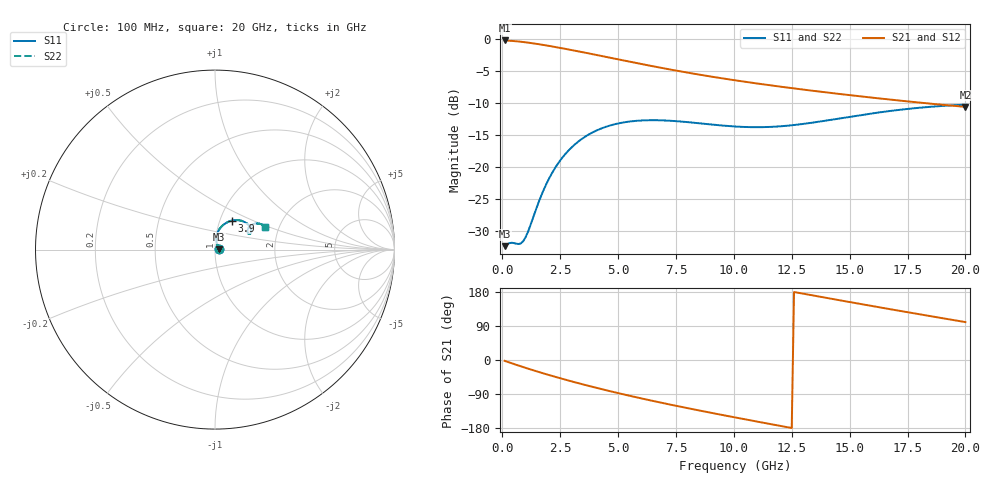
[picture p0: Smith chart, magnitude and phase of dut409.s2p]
! Touchstone file exported from HFSS 2024.1.0
!  File:  C:/UserFiles/LocalFiles/RDL_TSV_Batchsim/temp_RDL_TSV_409_1779713753.aedt
!  Generated:  09:18:17 PM May 25, 2026
!  Design:  RDL_TSV
!  Project:  temp_RDL_TSV_409_1779713753
!  Setup:  Setup1
!  Solution:  Sweep
! Variables:
!  dtsv = 14.38um
!  hbump = 3um
!  htsv = 56.25um
!  ldown = 523.62um
!  lrdl = 603.4um
!  p = 40
!  p1 = 41.38um
!  rhole = 10um
!  subl = 3984.46um
!  t = 450um
!  tdown = 3.78um
!  trdl = 2.9um
!  viad = 10um
!  wdown = 12.81um
!  wrdl = 23.55um
!  xbump = 18um
# GHz S MA R 50.000000
! Terminal data exported
! Port[1] = TM1_1_T1
! Port[2] = TM1_4_T1
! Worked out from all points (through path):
!   200 points, 100 MHz to 20 GHz, reference 50 ohm
!   highest |S21| = -0.21 dB at 100 MHz (marker M1); lowest = -10.6 dB at 20 GHz (marker M2)
!   group delay of S21, straight-line fit = 34.5 ps
!   lowest |S11| = -32.4 dB at 100 MHz (marker M3), VSWR 1.05, Z = 52.4 + j0.282 ohm
!   |S11| at or under -10 dB: start of sweep to end of sweep
!   |S22| runs from -32.4 to -10.3 dB; largest |S21 - S12| = 1.1e-14
!   S11 on the Smith chart (normalised r, x): 100 MHz: 1.05, +0.01; 3.9 GHz: 1.14, +0.38; 20 GHz: 1.69, +0.48
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0.1  0.02405 6.4  0.9756 -2.2  0.9756 -2.2  0.02405 6.4
! Gamma 0 0 0 0
! Port Impedance 50 0 50 0
0.3  0.02538 15.6  0.9714 -6.4  0.9714 -6.4  0.02538 15.6
0.7  0.02501 35.1  0.9577 -14.7  0.9577 -14.7  0.02499 35.2
0.9  0.02628 50.5  0.949 -18.7  0.949 -18.7  0.02627 50.7
1.1  0.03086 65.3  0.9391 -22.6  0.9391 -22.6  0.03088 65.5
1.8  0.06709 83.6  0.8984 -35.8  0.8984 -35.8  0.06727 83.7
2.2  0.09305 81.7  0.873 -42.9  0.873 -42.9  0.09331 81.8
2.8  0.131 74.7  0.8338 -53.2  0.8338 -53.2  0.1314 74.8
3.5  0.1689 65.2  0.788 -64.6  0.788 -64.6  0.1694 65.2
3.9  0.1865 59.8  0.7622 -70.9  0.7622 -70.9  0.187 59.9
4.6  0.2097 51.2  0.7185 -81.5  0.7185 -81.5  0.2104 51.3
5.4  0.2255 42.7  0.6716 -93.0  0.6716 -93.0  0.2263 42.7
6.8  0.2319 31.6  0.5989 -111.9  0.5989 -111.9  0.2327 31.7
7.6  0.2276 27.5  0.5632 -122.1  0.5632 -122.1  0.2285 27.6
8.4  0.2208 25.1  0.5313 -131.9  0.5313 -131.9  0.2217 25.1
10.1  0.2071 25.0  0.4748 -152.1  0.4748 -152.1  0.208 24.9
11.7  0.2063 28.9  0.4321 -170.4  0.4321 -170.4  0.2071 28.8
13.4  0.2223 32.9  0.3947 170.5  0.3947 170.5  0.2228 32.8
15.1  0.2484 33.8  0.363 151.8  0.363 151.8  0.2487 33.7
16.7  0.2735 32.1  0.3373 134.6  0.3373 134.6  0.2737 32.0
18.3  0.2937 28.8  0.3152 117.7  0.3152 117.7  0.2936 28.8
20  0.3071 24.8  0.2953 100.1  0.2953 100.1  0.3068 24.7
